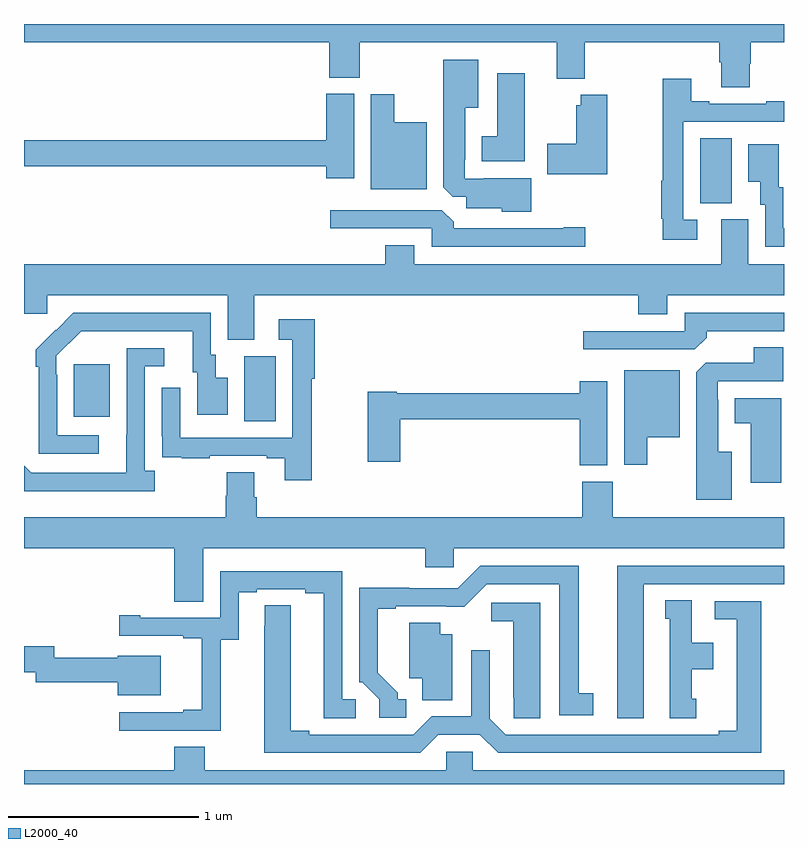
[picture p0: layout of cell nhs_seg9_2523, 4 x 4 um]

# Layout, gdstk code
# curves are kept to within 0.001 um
import gdstk
lib = gdstk.Library(unit=1e-6, precision=1e-09)
def R(c, l, rs):  # rectangles x0, y0, x1, y1
    for r in rs: c.add(gdstk.rectangle(r[:2], r[2:], *l))
def P(c, l, *ps):  # polygons
    for p in ps: c.add(gdstk.Polygon(p, *l))
L2000_40 = (2000, 40)

nhs_seg9_2523 = lib.new_cell('nhs_seg9_2523')
R(nhs_seg9_2523, L2000_40, [(256.16,1210.408,256.324,1210.752), (255.263,1210.433,255.451,1210.708), (258.56,1211.557,258.724,1211.9)])
P(nhs_seg9_2523, L2000_40, [(258.819,1212.291),(258.824,1212.291),(258.824,1212.404),(259,1212.404),(259,1212.5),(255,1212.5),(255,1212.404),(256.607,1212.404),(256.607,1212.217),(256.767,1212.217),(256.767,1212.404),(257.804,1212.404),(257.804,1212.212),(257.952,1212.212),(257.952,1212.404),(258.659,1212.404),(258.659,1212.298),(258.671,1212.298),(258.671,1212.166),(258.819,1212.166)],
  [(257.671,1211.689),(257.419,1211.689),(257.419,1211.685),(257.319,1211.685),(257.319,1211.785),(257.323,1211.785),(257.323,1212.059),(257.392,1212.059),(257.392,1212.313),(257.207,1212.313),(257.207,1211.641),(257.256,1211.592),(257.327,1211.592),(257.327,1211.531),(257.514,1211.531),(257.514,1211.513),(257.671,1211.513)],
  [(257.635,1212.241),(257.492,1212.241),(257.492,1211.908),(257.408,1211.908),(257.408,1211.777),(257.635,1211.777)],
  [(258.544,1211.469),(258.471,1211.469),(258.471,1211.985),(259,1211.985),(259,1212.094),(258.907,1212.094),(258.907,1212.081),(258.607,1212.081),(258.607,1212.094),(258.511,1212.094),(258.511,1212.211),(258.363,1212.211),(258.363,1211.676),(258.355,1211.676),(258.355,1211.476),(258.363,1211.476),(258.363,1211.364),(258.544,1211.364)],
  [(256.738,1212.132),(256.592,1212.132),(256.592,1211.888),(255,1211.888),(255,1211.752),(256.592,1211.752),(256.592,1211.688),(256.738,1211.688)],
  [(257.119,1211.983),(256.948,1211.983),(256.948,1212.13),(256.826,1212.13),(256.826,1211.63),(257.119,1211.63)],
  [(258.069,1212.127),(257.929,1212.127),(257.929,1212.073),(257.906,1212.073),(257.906,1211.871),(257.754,1211.871),(257.754,1211.708),(258.069,1211.708)],
  [(259,1211.424),(258.997,1211.424),(258.997,1211.64),(258.973,1211.64),(258.973,1211.866),(258.812,1211.866),(258.812,1211.669),(258.875,1211.669),(258.875,1211.55),(258.9,1211.55),(258.9,1211.328),(259,1211.328)],
  [(257.953,1211.429),(257.84,1211.429),(257.84,1211.424),(257.261,1211.424),(257.261,1211.458),(257.199,1211.52),(256.611,1211.52),(256.611,1211.424),(257.145,1211.424),(257.145,1211.328),(257.953,1211.328)],
  [(258.233,1210.973),(258.385,1210.973),(258.385,1211.072),(259,1211.072),(259,1211.236),(258.811,1211.236),(258.811,1211.472),(258.671,1211.472),(258.671,1211.236),(257.053,1211.236),(257.053,1211.335),(256.901,1211.335),(256.901,1211.236),(255,1211.236),(255,1210.974),(255.123,1210.974),(255.123,1211.072),(256.073,1211.072),(256.073,1210.837),(256.213,1210.837),(256.213,1211.072),(258.233,1211.072)],
  [(255.394,1210.335),(255.174,1210.335),(255.174,1210.655),(255.171,1210.655),(255.171,1210.755),(255.3,1210.884),(255.887,1210.884),(255.887,1210.668),(255.911,1210.668),(255.911,1210.443),(256.072,1210.443),(256.072,1210.639),(256.009,1210.639),(256.009,1210.758),(255.984,1210.758),(255.984,1210.98),(255.26,1210.98),(255.063,1210.785),(255.063,1210.697),(255.078,1210.697),(255.078,1210.239),(255.394,1210.239)],
  [(258.593,1210.85),(258.593,1210.884),(259,1210.884),(259,1210.98),(258.477,1210.98),(258.477,1210.884),(257.943,1210.884),(257.943,1210.788),(258.531,1210.788)],
  [(256.514,1210.632),(256.529,1210.632),(256.529,1210.945),(256.341,1210.945),(256.341,1210.839),(256.413,1210.839),(256.413,1210.323),(255.822,1210.323),(255.822,1210.585),(255.726,1210.585),(255.726,1210.33),(255.727,1210.33),(255.727,1210.221),(255.829,1210.221),(255.829,1210.215),(255.977,1210.215),(255.977,1210.227),(256.277,1210.227),(256.277,1210.215),(256.373,1210.215),(256.373,1210.098),(256.514,1210.098)],
  [(258.724,1210.249),(258.655,1210.249),(258.655,1210.523),(258.651,1210.523),(258.651,1210.62),(258.995,1210.62),(258.995,1210.799),(258.842,1210.799),(258.842,1210.716),(258.588,1210.716),(258.539,1210.667),(258.539,1209.995),(258.724,1209.995)],
  [(255.688,1210.15),(255.636,1210.15),(255.636,1210.698),(255.739,1210.698),(255.739,1210.794),(255.54,1210.794),(255.539,1210.137),(255.039,1210.137),(255,1210.176),(255,1210.04),(255.688,1210.04)],
  [(258.28,1210.325),(258.451,1210.325),(258.451,1210.678),(258.158,1210.678),(258.158,1210.179),(258.28,1210.179)],
  [(258.07,1210.621),(257.924,1210.621),(257.924,1210.556),(256.962,1210.556),(256.962,1210.564),(256.808,1210.564),(256.808,1210.197),(256.979,1210.197),(256.979,1210.42),(257.924,1210.42),(257.924,1210.177),(258.07,1210.177)],
  [(258.985,1210.531),(258.74,1210.531),(258.74,1210.4),(258.824,1210.4),(258.824,1210.086),(258.985,1210.086)],
  [(257.111,1209.642),(257.262,1209.642),(257.262,1209.74),(259,1209.74),(259,1209.904),(258.099,1209.904),(258.099,1210.092),(257.939,1210.092),(257.939,1209.904),(256.226,1209.904),(256.226,1210.01),(256.213,1210.01),(256.213,1210.142),(256.066,1210.142),(256.066,1210.017),(256.061,1210.017),(256.061,1209.904),(255,1209.904),(255,1209.74),(255.791,1209.74),(255.791,1209.46),(255.943,1209.46),(255.943,1209.74),(257.111,1209.74)],
  [(258.262,1209.552),(259,1209.552),(259,1209.648),(258.122,1209.648),(258.122,1208.847),(258.262,1208.847)],
  [(257.011,1208.946),(256.966,1208.946),(256.966,1208.981),(256.861,1209.086),(256.861,1209.423),(256.957,1209.423),(256.957,1209.435),(257.318,1209.434),(257.436,1209.552),(257.816,1209.552),(257.816,1208.862),(257.995,1208.862),(257.995,1208.978),(257.92,1208.978),(257.92,1209.648),(257.4,1209.648),(257.283,1209.531),(257.027,1209.531),(257.027,1209.533),(256.764,1209.533),(256.764,1209.036),(256.779,1209.036),(256.869,1208.946),(256.869,1208.85),(257.011,1208.85)],
  [(256.035,1209.259),(256.129,1209.259),(256.129,1209.51),(256.225,1209.51),(256.225,1209.525),(256.481,1209.525),(256.481,1209.505),(256.577,1209.505),(256.577,1208.845),(256.747,1208.845),(256.747,1208.946),(256.674,1208.946),(256.674,1209.621),(256.032,1209.621),(256.032,1209.375),(255.613,1209.375),(255.613,1209.388),(255.501,1209.388),(255.501,1209.279),(255.839,1209.279),(255.839,1209.267),(255.935,1209.267),(255.935,1208.89),(255.839,1208.89),(255.839,1208.877),(255.501,1208.877),(255.501,1208.781),(256.035,1208.781)],
  [(258.538,1208.949),(258.514,1208.949),(258.514,1209.104),(258.628,1209.104),(258.628,1209.244),(258.514,1209.244),(258.514,1209.467),(258.374,1209.467),(258.374,1209.369),(258.398,1209.369),(258.398,1208.847),(258.538,1208.847)],
  [(257.181,1208.76),(257.399,1208.76),(257.495,1208.664),(258.88,1208.664),(258.88,1209.462),(258.636,1209.462),(258.636,1209.366),(258.752,1209.366),(258.752,1208.78),(258.656,1208.78),(258.656,1208.76),(257.535,1208.76),(257.451,1208.844),(257.451,1209.205),(257.355,1209.205),(257.355,1208.856),(257.145,1208.856),(257.049,1208.76),(256.501,1208.76),(256.501,1208.78),(256.405,1208.78),(256.405,1209.44),(256.266,1209.44),(256.265,1208.664),(257.085,1208.664)],
  [(257.716,1209.453),(257.46,1209.453),(257.46,1209.356),(257.576,1209.356),(257.576,1208.953),(257.577,1208.953),(257.577,1208.845),(257.716,1208.845)],
  [(257.254,1209.289),(257.191,1209.289),(257.191,1209.35),(257.027,1209.35),(257.027,1209.056),(257.096,1209.056),(257.096,1208.941),(257.254,1208.941)],
  [(255.721,1209.175),(255.494,1209.175),(255.494,1209.164),(255.159,1209.164),(255.159,1209.224),(255,1209.224),(255,1209.088),(255.063,1209.088),(255.063,1209.036),(255.494,1209.036),(255.494,1208.966),(255.721,1208.966)],
  [(259,1208.572),(257.361,1208.572),(257.361,1208.67),(257.223,1208.67),(257.223,1208.572),(255.951,1208.572),(255.951,1208.696),(255.791,1208.696),(255.791,1208.572),(255,1208.572),(255,1208.5),(259,1208.5)])

lib.write_gds('nhs_seg9_2523.gds')
